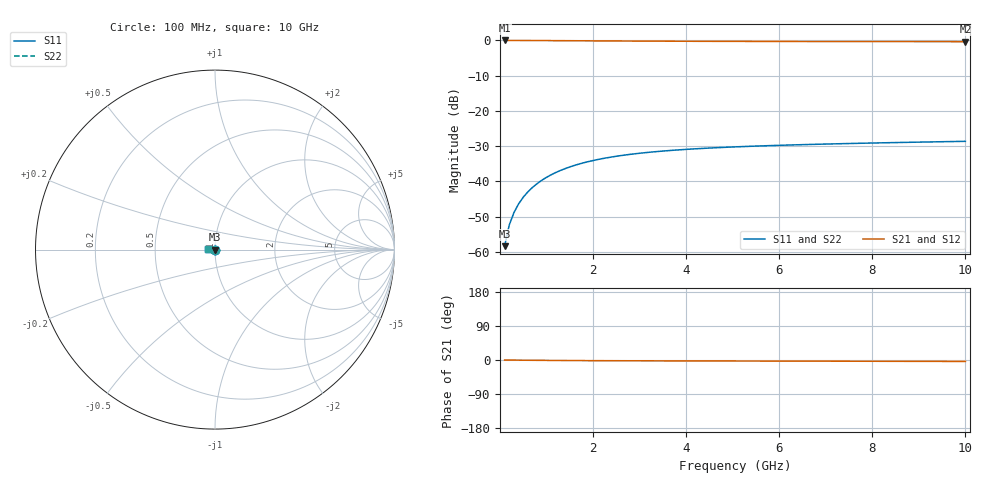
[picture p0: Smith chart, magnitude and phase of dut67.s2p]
! Touchstone file exported from HFSS 2024.1.0
!  File:  C:/UserFiles/LocalFiles/RDL_TSV_Batchsim/temp_TSV1_67_1779373693.aedt
!  Generated:  10:34:08 PM May 21, 2026
!  Design:  TSV1
!  Project:  temp_TSV1_67_1779373693
!  Setup:  Setup1
!  Solution:  Sweep
! Variables:
!  dtsv = 12.66um
!  hbump = 3um
!  htsv = 55.41um
!  lrdl = 252.1521522um
!  p = 40
!  p1 = 59.5um
!  t = 500um
!  trdl = 3um
!  wrdl = 24.89489489um
# GHz S MA R 50.000000
! Terminal data exported
! Port[1] = TSV22_T1
! Port[2] = TSV22_T2
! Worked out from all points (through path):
!   100 points, 100 MHz to 10 GHz, reference 50 ohm
!   highest |S21| = 0.00 dB at 100 MHz (marker M1); lowest = -0.3 dB at 10 GHz (marker M2)
!   lowest |S11| = -58.4 dB at 100 MHz (marker M3), VSWR 1.00, Z = 50 - j0.121 ohm
!   |S11| at or under -10 dB: start of sweep to end of sweep
!   |S22| runs from -58.4 to -28.6 dB; largest |S21 - S12| = 8e-15
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0.1  0.001208 -88.9  0.9999 -0.1  0.9999 -0.1  0.001208 -88.9
! Gamma 0 0 0 0
! Port Impedance 50 0 50 0
0.2  0.002411 -92.7  0.9997 -0.2  0.9997 -0.2  0.002411 -92.7
0.3  0.00361 -95.5  0.9995 -0.3  0.9995 -0.3  0.00361 -95.5
0.4  0.004797 -98.0  0.9991 -0.4  0.9991 -0.4  0.004797 -98.0
0.5  0.005968 -100.5  0.9987 -0.5  0.9987 -0.5  0.005968 -100.5
0.6  0.007117 -102.8  0.9982 -0.7  0.9982 -0.7  0.007117 -102.8
0.7  0.008242 -105.1  0.9976 -0.8  0.9976 -0.8  0.008242 -105.1
0.8  0.009338 -107.3  0.997 -0.8  0.997 -0.8  0.009338 -107.3
0.9  0.0104 -109.5  0.9963 -0.9  0.9963 -0.9  0.0104 -109.5
1.1  0.01243 -113.6  0.9948 -1.1  0.9948 -1.1  0.01243 -113.6
1.4  0.01521 -119.5  0.9923 -1.3  0.9923 -1.3  0.01521 -119.5
1.6  0.01688 -123.2  0.9905 -1.5  0.9905 -1.5  0.01688 -123.2
1.8  0.01841 -126.6  0.9888 -1.6  0.9888 -1.6  0.01841 -126.6
2.1  0.02046 -131.4  0.9863 -1.8  0.9863 -1.8  0.02046 -131.4
2.5  0.02277 -137.2  0.9831 -1.9  0.9831 -1.9  0.02277 -137.2
2.9  0.02468 -142.3  0.9802 -2.1  0.9802 -2.1  0.02468 -142.3
3.4  0.02664 -147.9  0.9772 -2.2  0.9772 -2.2  0.02664 -147.9
4.2  0.02903 -155.6  0.9732 -2.4  0.9732 -2.4  0.02903 -155.6
5.1  0.03101 -162.6  0.9699 -2.7  0.9699 -2.7  0.03101 -162.6
6.7  0.03353 -172.7  0.966 -3.0  0.966 -3.0  0.03353 -172.7
8.4  0.0355 178.8  0.9634 -3.4  0.9634 -3.4  0.0355 178.8
10  0.03709 172.0  0.9618 -3.8  0.9618 -3.8  0.03709 172.0
